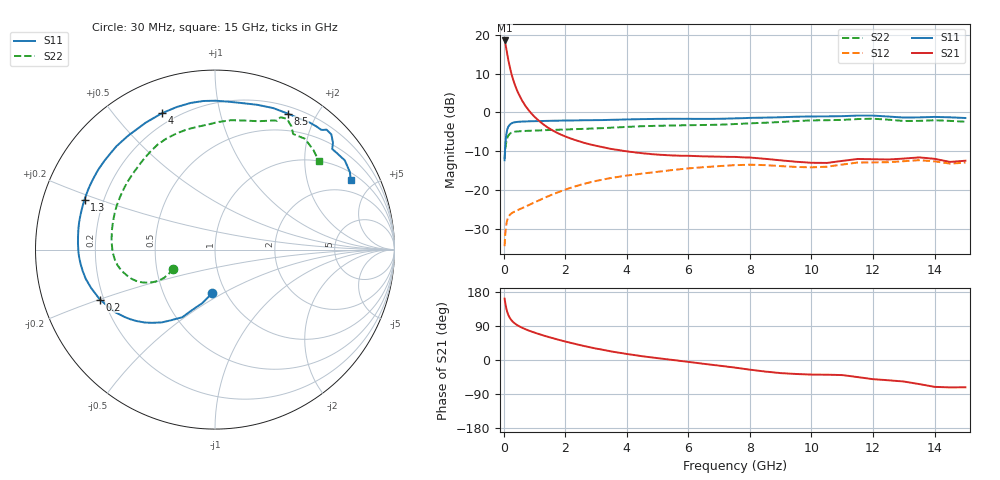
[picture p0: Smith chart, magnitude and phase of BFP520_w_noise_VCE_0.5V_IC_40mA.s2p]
! Infineon Technologies  Discrete & RF Semiconductors
! BFP520
! VCE =  0.5 V,  IC =  40 mA
! Common Emitter S-Parameters:  Oct 2015
# GHz  S  MA  R  50
!  f  S11  S21  S12  S22
! GHz  MAG  ANG  MAG  ANG  MAG  ANG  MAG  ANG
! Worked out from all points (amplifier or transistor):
!   109 points, 30 MHz to 15 GHz, reference 50 ohm
!   highest |S21| = 18.5 dB at 30 MHz (marker M1)
!   |S21| within 3 dB of that: start of sweep to 104.7 MHz
!   unconditionally stable (mu >= 1): start of sweep to end of sweep
!   at 450 MHz: K = 1.60, MAG = 10.7 dB, |S12| = -25.1 dB
!   at 4 GHz: K = 2.47, MAG = -3.6 dB, |S12| = -16.2 dB
!   at 15 GHz: K = 1.66, MAG = -4.5 dB, |S12| = -12.9 dB
!   lowest NFmin = 2.88 dB at 900 MHz
!   S11 on the Smith chart (normalised r, x): 30 MHz: 0.86, -0.44; 200 MHz: 0.18, -0.20; 1.3 GHz: 0.13, +0.18; 4 GHz: 0.15, +0.67; 8.5 GHz: 0.28, +1.64; 15 GHz: 1.34, +3.71
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0.03  0.2437 -94.0  8.414 162.0  0.0192 40.8  0.2549 -155.4
0.04  0.3057 -103.2  8.128 156.5  0.023 42.3  0.2875 -152.6
0.05  0.3645 -111.2  7.787 151.5  0.0269 42.3  0.3235 -151.0
0.06  0.4185 -115.8  7.481 146.8  0.0299 41.5  0.3534 -151.0
0.08  0.5027 -126.2  6.773 138.2  0.0353 38.7  0.4059 -153.1
0.11  0.5906 -137.6  5.793 128.3  0.0407 34.5  0.4606 -157.1
0.14  0.6427 -145.8  4.983 121.1  0.0443 31.1  0.4953 -161.1
0.2  0.699 -156.5  3.824 111.0  0.0485 27.0  0.5331 -167.1
0.25  0.7226 -162.8  3.164 105.2  0.0505 25.1  0.5496 -170.8
0.35  0.7468 -170.8  2.352 97.2  0.0533 24.0  0.5645 -176.0
0.45  0.7577 -176.5  1.859 91.5  0.0557 24.4  0.5717 -179.7
0.6  0.7643 177.4  1.419 85.1  0.0592 25.9  0.5773 175.9
0.9  0.7724 168.5  0.971 75.2  0.0671 29.1  0.5843 169.4
1.3  0.7784 159.0  0.699 64.5  0.0793 31.4  0.5917 162.3
2.6  0.7956 133.7  0.409 37.1  0.1209 26.8  0.6165 142.0
4  0.8154 111.3  0.317 15.9  0.155 14.8  0.6532 123.7
5.1  0.8283 98.3  0.286 3.9  0.175 5.8  0.6762 112.6
7.6  0.8421 72.5  0.268 -21.0  0.2112 -17.9  0.7131 87.6
8.5  0.8596 61.8  0.254 -30.5  0.2109 -27.7  0.7388 76.6
10.5  0.8915 48.6  0.225 -38.8  0.2012 -36.1  0.7958 64.3
13  0.8603 40.6  0.256 -56.8  0.2369 -55.6  0.7779 56.0
15  0.8495 27.0  0.24 -72.0  0.2268 -71.1  0.7611 40.7
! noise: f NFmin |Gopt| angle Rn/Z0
0.45  2.9  0.12  -150  0.28
0.9  2.88  0.14  -145  0.32
1.9  3.01  0.21  -123  0.34
2.4  3  0.21  -121  0.33
3.5  2.96  0.21  -107  0.37
